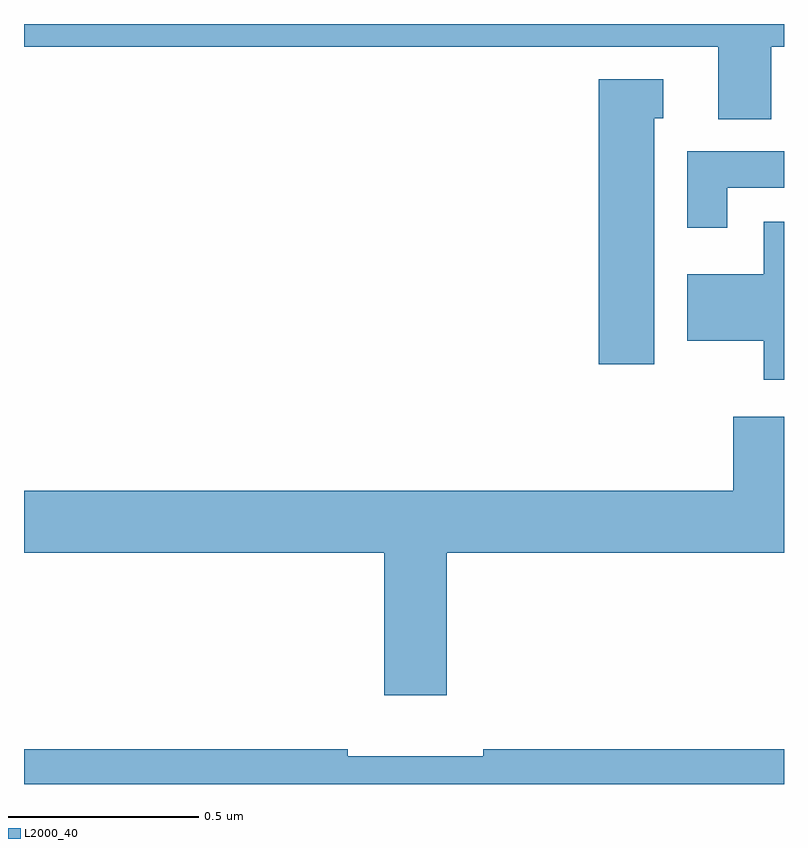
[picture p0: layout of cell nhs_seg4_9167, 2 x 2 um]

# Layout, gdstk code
import gdstk
lib = gdstk.Library(unit=1e-6, precision=1e-09)
def P(c, l, *ps):  # polygons
    for p in ps: c.add(gdstk.Polygon(p, *l))
L2000_40 = (2000, 40)

nhs_seg4_9167 = lib.new_cell('nhs_seg4_9167')
P(nhs_seg4_9167, L2000_40, [(225.967,776.84),(226,776.84),(226,776.9),(224,776.9),(224,776.84),(225.827,776.84),(225.827,776.65),(225.967,776.65)],
  [(225.658,776.652),(225.682,776.652),(225.682,776.755),(225.512,776.755),(225.512,776.004),(225.658,776.004)],
  [(225.85,776.469),(226,776.469),(226,776.565),(225.746,776.565),(225.746,776.364),(225.85,776.364)],
  [(226,776.38),(225.947,776.38),(225.947,776.242),(225.746,776.242),(225.746,776.066),(225.947,776.066),(225.947,775.964),(226,775.964)],
  [(225.112,775.508),(226,775.508),(226,775.867),(225.866,775.867),(225.866,775.672),(224,775.672),(224,775.508),(224.948,775.508),(224.948,775.134),(225.112,775.134)],
  [(226,774.992),(225.208,774.992),(225.208,774.973),(224.852,774.973),(224.852,774.992),(224,774.992),(224,774.9),(226,774.9)])

lib.write_gds('nhs_seg4_9167.gds')
